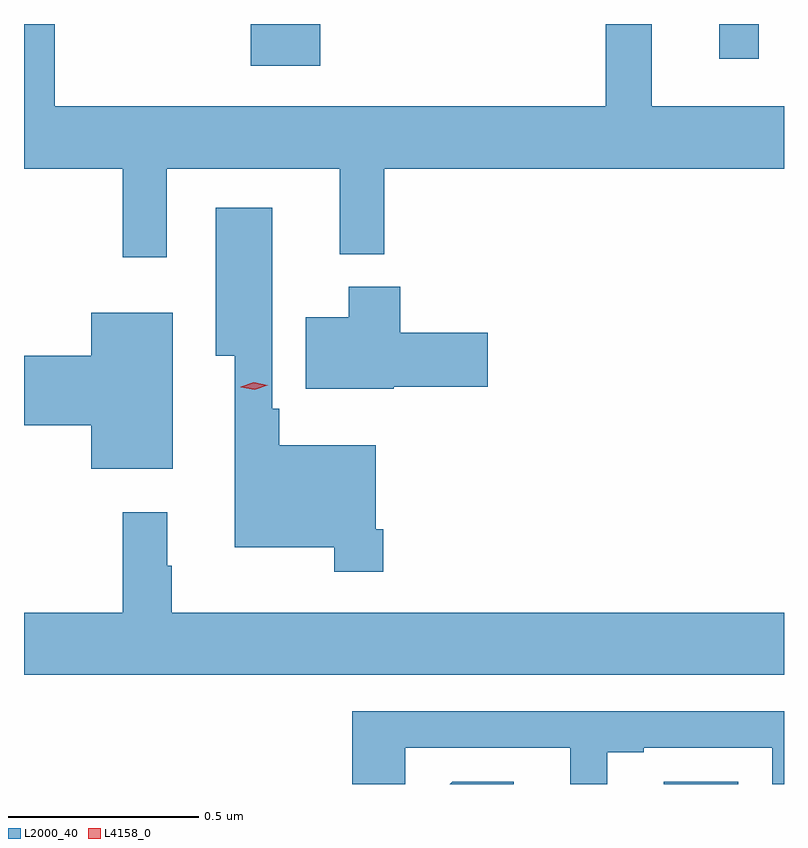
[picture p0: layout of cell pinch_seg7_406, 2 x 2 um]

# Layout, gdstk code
import gdstk
lib = gdstk.Library(unit=1e-6, precision=1e-09)
def R(c, l, rs):  # rectangles x0, y0, x1, y1
    for r in rs: c.add(gdstk.rectangle(r[:2], r[2:], *l))
def P(c, l, *ps):  # polygons
    for p in ps: c.add(gdstk.Polygon(p, *l))
L2000_40 = (2000, 40)
L4158_0 = (4158, 0)

pinch_seg7_406 = lib.new_cell('pinch_seg7_406')
R(pinch_seg7_406, L2000_40, [(497.643,1014.981,497.839,1014.987), (496.556,1016.871,496.739,1016.981), (497.789,1016.889,497.893,1016.981)])
P(pinch_seg7_406, L2000_40, [(496.335,1016.6),(496.79,1016.6),(496.79,1016.375),(496.907,1016.375),(496.907,1016.6),(497.959,1016.6),(497.959,1016.764),(497.611,1016.764),(497.611,1016.981),(497.49,1016.981),(497.49,1016.764),(496.04,1016.764),(496.04,1016.981),(495.959,1016.981),(495.959,1016.6),(496.219,1016.6),(496.219,1016.367),(496.335,1016.367)],
  [(496.904,1015.651),(496.884,1015.651),(496.884,1015.873),(496.631,1015.873),(496.631,1015.969),(496.612,1015.969),(496.612,1016.497),(496.463,1016.497),(496.463,1016.108),(496.514,1016.108),(496.514,1015.604),(496.776,1015.604),(496.776,1015.539),(496.904,1015.539)],
  [(496.932,1016.027),(497.179,1016.027),(497.179,1016.169),(496.949,1016.169),(496.949,1016.29),(496.814,1016.29),(496.814,1016.209),(496.7,1016.209),(496.7,1016.021),(496.932,1016.021)],
  [(496.351,1016.221),(496.136,1016.221),(496.136,1016.108),(495.959,1016.108),(495.959,1015.925),(496.136,1015.925),(496.136,1015.811),(496.351,1015.811)],
  [(497.959,1015.432),(496.348,1015.432),(496.348,1015.556),(496.336,1015.556),(496.336,1015.696),(496.219,1015.696),(496.219,1015.432),(495.959,1015.432),(495.959,1015.268),(497.959,1015.268)],
  [(496.962,1015.077),(497.396,1015.077),(497.396,1014.981),(497.494,1014.981),(497.494,1015.065),(497.59,1015.065),(497.59,1015.077),(497.928,1015.077),(497.928,1014.981),(497.959,1014.981),(497.959,1015.173),(496.823,1015.173),(496.823,1014.981),(496.962,1014.981)],
  [(497.248,1014.987),(497.086,1014.987),(497.08,1014.981),(497.248,1014.981)])
P(pinch_seg7_406, L4158_0, [(496.566,1016.018),(496.529,1016.025),(496.529,1016.026),(496.529,1016.026),(496.564,1016.038),(496.601,1016.031),(496.601,1016.031),(496.601,1016.031)])

lib.write_gds('pinch_seg7_406.gds')
